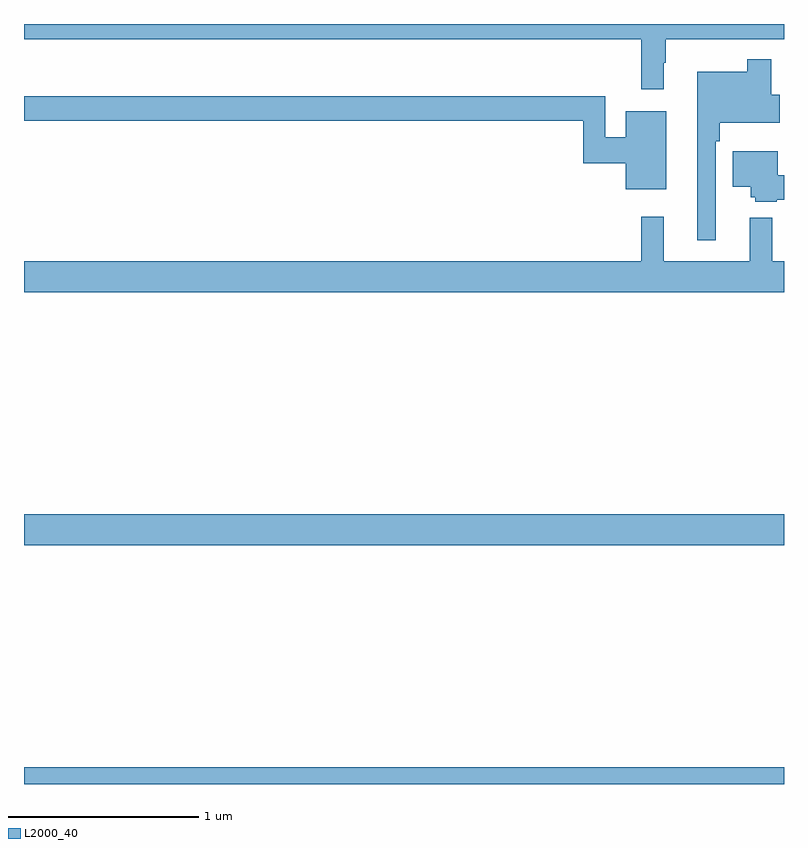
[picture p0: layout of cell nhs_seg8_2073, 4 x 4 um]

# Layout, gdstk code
import gdstk
lib = gdstk.Library(unit=1e-6, precision=1e-09)
def R(c, l, rs):  # rectangles x0, y0, x1, y1
    for r in rs: c.add(gdstk.rectangle(r[:2], r[2:], *l))
def P(c, l, *ps):  # polygons
    for p in ps: c.add(gdstk.Polygon(p, *l))
L2000_40 = (2000, 40)

nhs_seg8_2073 = lib.new_cell('nhs_seg8_2073')
R(nhs_seg8_2073, L2000_40, [(241,1125.9,245,1125.988), (241,1127.156,245,1127.32)])
P(nhs_seg8_2073, L2000_40, [(244.366,1129.697),(244.378,1129.697),(244.378,1129.82),(245,1129.82),(245,1129.9),(241,1129.9),(241,1129.82),(244.249,1129.82),(244.249,1129.557),(244.366,1129.557)],
  [(244.641,1129.283),(244.661,1129.283),(244.661,1129.379),(244.978,1129.379),(244.978,1129.527),(244.934,1129.527),(244.934,1129.714),(244.806,1129.714),(244.806,1129.648),(244.544,1129.648),(244.544,1128.762),(244.641,1128.762)],
  [(244.381,1129.441),(244.166,1129.441),(244.166,1129.304),(244.059,1129.304),(244.059,1129.519),(241,1129.519),(241,1129.39),(243.943,1129.39),(243.943,1129.168),(244.166,1129.168),(244.166,1129.031),(244.381,1129.031)],
  [(244.962,1128.976),(245,1128.976),(245,1129.105),(244.966,1129.105),(244.966,1129.231),(244.73,1129.231),(244.73,1129.043),(244.826,1129.043),(244.826,1128.987),(244.848,1128.987),(244.848,1128.965),(244.962,1128.965)],
  [(245,1128.652),(244.937,1128.652),(244.937,1128.88),(244.82,1128.88),(244.82,1128.652),(244.367,1128.652),(244.367,1128.886),(244.249,1128.886),(244.249,1128.652),(241,1128.652),(241,1128.488),(245,1128.488)])

lib.write_gds('nhs_seg8_2073.gds')
